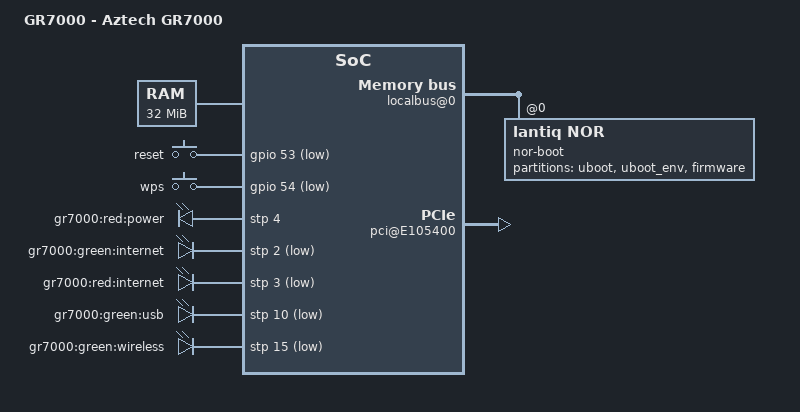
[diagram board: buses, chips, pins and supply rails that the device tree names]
/dts-v1/;

/include/ "ar9.dtsi"

/ {
	model = "GR7000 - Aztech GR7000";

	chosen {
		bootargs = "console=ttyLTQ0,115200 init=/etc/preinit";

		leds {
			boot = &power_red;
			failsafe = &power_red;

			internet = &internet_green;
			usb = &usb;
			wifi = &wifi;
		};
	};

	memory@0 {
		reg = <0x0 0x2000000>;
	};

	fpi@10000000 {
		localbus@0 {
			nor-boot@0 {
				compatible = "lantiq,nor";
				bank-width = <2>;
				reg = <0 0x0 0x2000000>;
				#address-cells = <1>;
				#size-cells = <1>;

				partition@0 {
					label = "uboot";
					reg = <0x0 0x20000>;
					read-only;
				};

				partition@20000 {
					label = "uboot_env";
					reg = <0x20000 0x10000>;
					read-only;
				};

				partition@30000 {
					label = "firmware";
					reg = <0x30000 0x7d0000>;
				};
			};
		};

		gpio: pinmux@E100B10 {
			compatible = "lantiq,pinctrl-xr9";
			pinctrl-names = "default";
			pinctrl-0 = <&state_default>;

			state_default: pinmux {
				stp {
					lantiq,groups = "stp";
					lantiq,function = "stp";
				};
				pci-in {
					lantiq,groups = "req1";
					lantiq,output = <0>;
					lantiq,open-drain = <1>;
					lantiq,pull = <2>;
				};
				pci-out {
					lantiq,groups = "gnt1";
					lantiq,output = <1>;
					lantiq,pull = <0>;
				};
				pci_rst {
					lantiq,pins = "io21";
					lantiq,pull = <0>;
					lantiq,output = <1>;
				};
			};
		};

		ifxhcd@E101000 {
			status = "okay";
		};

		pci@E105400 {
			status = "okay";
		};

		stp: stp@E100BB0 {
			compatible = "lantiq,gpio-stp-xway";
			#gpio-cells = <2>;
			gpio-controller;
			reg = <0xE100BB0 0x40>;

			lantiq,shadow = <0xfff>;
			lantiq,groups = <0x3>;
		};
	};

	gpio-keys-polled {
		compatible = "gpio-keys-polled";
		#address-cells = <1>;
		#size-cells = <0>;
		poll-interval = <100>;

		reset {
			label = "reset";
			gpios = <&gpio 53 1>;
			linux,code = <0x198>;
		};
		wps {
			label = "wps";
			gpios = <&gpio 54 1>;
			linux,code = <0x211>;
		};
	};

	gpio-leds {
		compatible = "gpio-leds";

		power_red: power2 {
			label = "gr7000:red:power";
			gpios = <&stp 4 0>;
		};
		internet_green: internet {
			label = "gr7000:green:internet";
			gpios = <&stp 2 1>;
		};
		internet2 {
			label = "gr7000:red:internet";
			gpios = <&stp 3 1>;
		};
		usb: usb {
			label = "gr7000:green:usb";
			gpios = <&stp 10 1>;
		};
		wifi: wifi {
			label = "gr7000:green:wireless";
			gpios = <&stp 15 1>;
		};
	};
};
